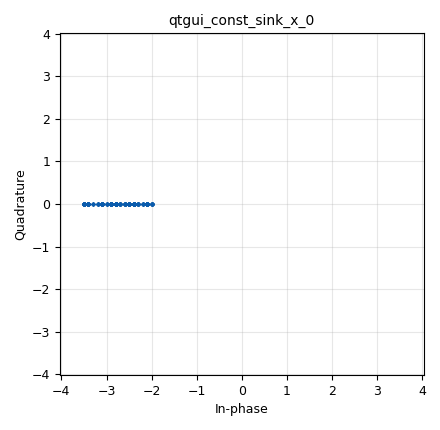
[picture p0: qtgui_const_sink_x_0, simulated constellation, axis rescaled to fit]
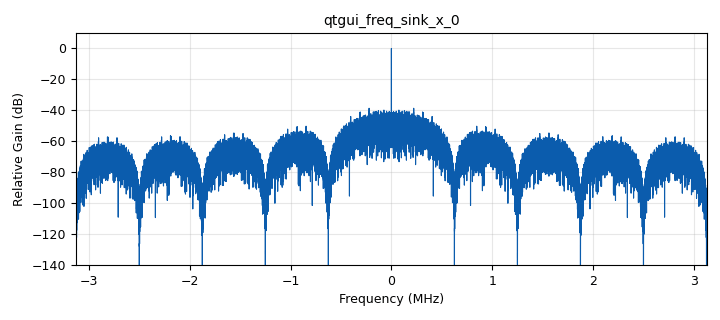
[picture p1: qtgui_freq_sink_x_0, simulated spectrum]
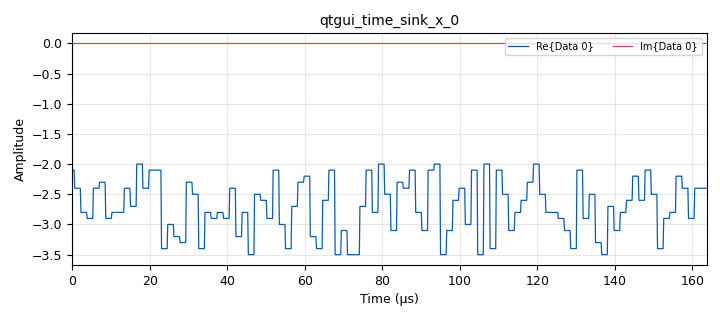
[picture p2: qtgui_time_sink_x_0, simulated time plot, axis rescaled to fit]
options:
  parameters:
    author: Sebastian_Magda
    generate_options: qt_gui
    id: AsK
    output_language: python
    title: ask
  states: {}

blocks:
- name: Ac
  id: variable_qtgui_range
  parameters:
    label: Amplitud_portadora
    start: '0'
    step: '100e-3'
    stop: '2'
    value: '1'
  states: {}
- name: B
  id: variable_qtgui_range
  parameters:
    label: Num_muestras*simbolo
    rangeType: int
    start: '1'
    step: '1'
    stop: '40'
    value: '10'
  states: {}
- name: DC
  id: variable_qtgui_range
  parameters:
    label: DC nivel_señal_mod
    start: '-8'
    step: '100e-3'
    stop: '8'
    value: '-3.5'
  states: {}
- name: GTX
  id: variable_qtgui_range
  parameters:
    label: ganancia_transmisor
    start: '0'
    step: '1'
    stop: '30'
    value: '0'
  states: {}
- name: 'No'
  id: variable_qtgui_range
  parameters:
    label: Amplitud_de_ruido
    start: '0'
    step: '10e-3'
    stop: '300e-3'
    value: '0'
  states: {}
- name: fc
  id: variable_qtgui_range
  parameters:
    label: frec_portadora
    start: 50e6
    step: 1e6
    stop: 2.2e9
    value: 400e6
  states: {}
- name: ka
  id: variable_qtgui_range
  parameters:
    label: ka coeficiente mensaje
    start: '0'
    step: '0.1'
    stop: '2'
    value: '0.1'
  states: {}
- name: n
  id: variable_qtgui_range
  parameters:
    label: bits por simbolo
    start: '1'
    step: '1'
    stop: '4'
    value: '4'
  states: {}
- name: samp_rate
  id: variable
  parameters:
    value: 12500000/2
  states: {}
- name: analog_noise_source_x_0
  id: analog_noise_source_x
  parameters:
    amp: 'No'
    noise_type: analog.GR_GAUSSIAN
    seed: '0'
    type: complex
  states: {}
- name: analog_random_source_x_0
  id: analog_random_source_x
  parameters:
    max: 2**n
    min: '0'
    num_samps: '1000'
    repeat: 'True'
    type: byte
  states: {}
- name: blocks_add_const_vxx_0
  id: blocks_add_const_vxx
  parameters:
    const: DC
    type: float
  states: {}
- name: blocks_add_xx_0
  id: blocks_add_xx
  parameters:
    type: complex
  states: {}
- name: blocks_float_to_complex_0
  id: blocks_float_to_complex
  parameters: {}
  states: {}
- name: blocks_multiply_const_vxx_0
  id: blocks_multiply_const_vxx
  parameters:
    const: ka
    type: float
  states: {}
- name: blocks_multiply_const_vxx_0_0
  id: blocks_multiply_const_vxx
  parameters:
    const: Ac
    type: complex
  states: {}
- name: blocks_null_source_0
  id: blocks_null_source
  parameters:
    type: float
  states: {}
- name: blocks_repeat_0
  id: blocks_repeat
  parameters:
    interp: B
    type: float
  states: {}
- name: blocks_uchar_to_float_0
  id: blocks_uchar_to_float
  parameters: {}
  states: {}
- name: import_0
  id: import
  parameters:
    imports: import math
  states: {}
- name: qtgui_const_sink_x_0
  id: qtgui_const_sink_x
  parameters:
    size: '1024'
    type: complex
  states: {}
- name: qtgui_freq_sink_x_0
  id: qtgui_freq_sink_x
  parameters:
    bw: samp_rate
    fc: '0'
    fftsize: '32768'
    type: complex
  states: {}
- name: qtgui_time_sink_x_0
  id: qtgui_time_sink_x
  parameters:
    size: '1024'
    srate: samp_rate
    type: complex
  states: {}
- name: uhd_usrp_sink_0
  id: uhd_usrp_sink
  parameters:
    ant0: '"TX/RX"'
    center_freq0: fc
    gain0: GTX
    samp_rate: samp_rate
    sync: pc_clock
    type: fc32
  states: {}
- name: virtual_sink_0
  id: virtual_sink
  parameters:
    stream_id: m_t
  states: {}
- name: virtual_sink_1
  id: virtual_sink
  parameters:
    stream_id: g(t)
  states: {}
- name: virtual_source_0
  id: virtual_source
  parameters:
    stream_id: m_t
  states: {}
- name: virtual_source_1
  id: virtual_source
  parameters:
    stream_id: g(t)
  states: {}

connections:
- [analog_noise_source_x_0, '0', blocks_add_xx_0, '1']
- [analog_random_source_x_0, '0', blocks_uchar_to_float_0, '0']
- [blocks_add_const_vxx_0, '0', blocks_float_to_complex_0, '0']
- [blocks_add_xx_0, '0', qtgui_const_sink_x_0, '0']
- [blocks_add_xx_0, '0', qtgui_freq_sink_x_0, '0']
- [blocks_add_xx_0, '0', qtgui_time_sink_x_0, '0']
- [blocks_add_xx_0, '0', uhd_usrp_sink_0, '0']
- [blocks_float_to_complex_0, '0', blocks_multiply_const_vxx_0_0, '0']
- [blocks_multiply_const_vxx_0, '0', blocks_add_const_vxx_0, '0']
- [blocks_multiply_const_vxx_0_0, '0', virtual_sink_1, '0']
- [blocks_null_source_0, '0', blocks_float_to_complex_0, '1']
- [blocks_repeat_0, '0', virtual_sink_0, '0']
- [blocks_uchar_to_float_0, '0', blocks_repeat_0, '0']
- [virtual_source_0, '0', blocks_multiply_const_vxx_0, '0']
- [virtual_source_1, '0', blocks_add_xx_0, '0']

metadata:
  file_format: 1
  grc_version: 3.10.2.0
